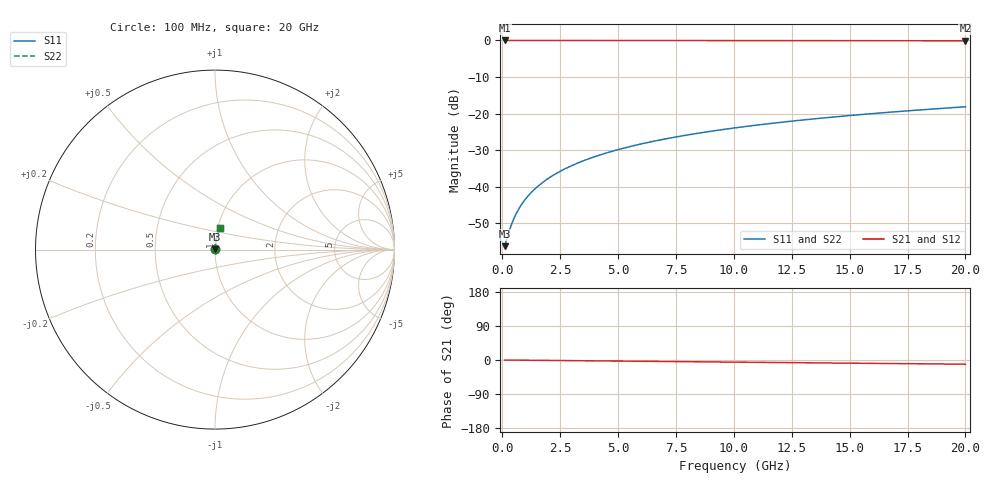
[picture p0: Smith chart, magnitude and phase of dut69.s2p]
! Touchstone file exported from HFSS 2026.1.0
!  File:  C:/ffzhzh/LocalFiles/Ansys_Project_Files/temp_train_TMRDL_69_1782881173_8056.aedt
!  Generated:  12:47:21 PM Jul  1, 2026
!  Design:  TMRDL
!  Project:  temp_train_TMRDL_69_1782881173_8056
! Variables:
!  h_bsmrdl = 2um
!  h_ox = 20um
!  h_rdl = 5um
!  h_sub = 80um
!  h_tmrdl = 3.08um
!  h_tsv = 80um
!  h_via = 3um
!  l_bsmrdl = 300um
!  l_sub = 528.35um
!  l_tmrdl = 128.35um
!  m_sub = 200um
!  pitch = 33.06um
!  r_tsv = 6um
!  s_tmrdl = 10um
!  w_bsmrdl = 18um
!  w_sub = 500um
!  w_tmrdl = 12.54um
!  x_tsv_center1 = 134.62um
!  x_tsv_center2 = 452.62um
!  x_tsv_center3 = 593.51um
!  x_tsv_center4 = 911.51um
!  x_tsv_center5 = 1052.4um
!  x_tsv_center6 = 1370.4um
# GHz S MA R 50.000000
! Terminal data exported
! Port[1] = TM_RDL1_1_T1
! Port[2] = TM_RDL1_1_T2
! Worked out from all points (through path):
!   200 points, 100 MHz to 20 GHz, reference 50 ohm
!   highest |S21| = -0.01 dB at 100 MHz (marker M1); lowest = -0.1 dB at 20 GHz (marker M2)
!   group delay of S21, straight-line fit = 1.54 ps
!   lowest |S11| = -56.3 dB at 100 MHz (marker M3), VSWR 1.00, Z = 50.1 + j0.0687 ohm
!   |S11| at or under -10 dB: start of sweep to end of sweep
!   |S22| runs from -56.3 to -18.1 dB; largest |S21 - S12| = 4.3e-15
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0.1  0.001537 26.5  0.9986 -0.1  0.9986 -0.1  0.001537 26.5
! Gamma 0 0 0 0
! Port Impedance 50 0 50 0
0.3  0.002485 55.0  0.9986 -0.2  0.9986 -0.2  0.002485 55.0
0.4  0.003066 61.6  0.9985 -0.2  0.9985 -0.2  0.003066 61.6
0.5  0.003667 65.9  0.9985 -0.3  0.9985 -0.3  0.003667 65.9
0.6  0.004278 69.1  0.9985 -0.3  0.9985 -0.3  0.004278 69.1
0.7  0.004893 71.4  0.9985 -0.4  0.9985 -0.4  0.004893 71.4
0.9  0.006132 74.7  0.9984 -0.5  0.9984 -0.5  0.006132 74.7
1.2  0.008006 77.7  0.9984 -0.7  0.9984 -0.7  0.008006 77.7
1.4  0.009263 79.0  0.9983 -0.8  0.9983 -0.8  0.009263 79.0
1.7  0.01116 80.4  0.9983 -1.0  0.9983 -1.0  0.01116 80.4
2.2  0.01433 81.9  0.9982 -1.3  0.9982 -1.3  0.01433 81.9
2.8  0.01814 82.8  0.9981 -1.6  0.9981 -1.6  0.01814 82.8
3.5  0.0226 83.3  0.9979 -2.0  0.9979 -2.0  0.0226 83.3
4.2  0.02705 83.5  0.9977 -2.4  0.9977 -2.4  0.02705 83.5
5  0.03212 83.5  0.9974 -2.8  0.9974 -2.8  0.03212 83.5
5.9  0.03781 83.4  0.9971 -3.3  0.9971 -3.3  0.03781 83.4
6.8  0.04348 83.1  0.9967 -3.8  0.9967 -3.8  0.04348 83.1
8.3  0.05286 82.5  0.996 -4.7  0.996 -4.7  0.05286 82.5
10.1  0.06402 81.7  0.995 -5.7  0.995 -5.7  0.06402 81.7
13.4  0.08423 80.2  0.993 -7.5  0.993 -7.5  0.08423 80.2
16.7  0.1041 78.5  0.9906 -9.3  0.9906 -9.3  0.1041 78.5
20  0.1238 76.9  0.9879 -11.1  0.9879 -11.1  0.1238 76.9
